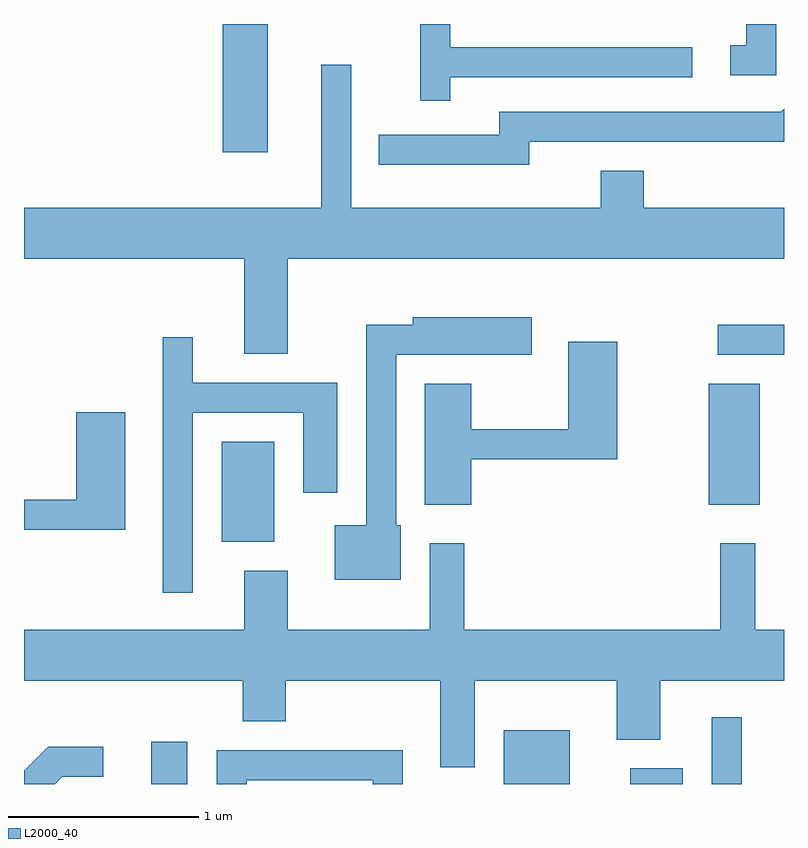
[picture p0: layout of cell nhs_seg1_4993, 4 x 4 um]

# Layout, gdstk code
import gdstk
lib = gdstk.Library(unit=1e-6, precision=1e-09)
def R(c, l, rs):  # rectangles x0, y0, x1, y1
    for r in rs: c.add(gdstk.rectangle(r[:2], r[2:], *l))
def P(c, l, *ps):  # polygons
    for p in ps: c.add(gdstk.Polygon(p, *l))
L2000_40 = (2000, 40)

nhs_seg1_4993 = lib.new_cell('nhs_seg1_4993')
R(nhs_seg1_4993, L2000_40, [(336.281,885.712,336.469,885.934), (338.136,885.712,338.484,885.994), (338.801,885.712,339.079,885.794), (339.231,885.712,339.389,886.063), (336.651,886.986,336.929,887.514), (339.216,887.181,339.484,887.819), (339.263,887.971,339.611,888.129), (336.656,889.036,336.894,889.712)])
P(nhs_seg1_4993, L2000_40, [(339.569,889.712),(339.411,889.712),(339.411,889.599),(339.328,889.599),(339.328,889.441),(339.569,889.441)],
  [(337.854,889.431),(339.128,889.431),(339.128,889.589),(337.854,889.589),(337.854,889.712),(337.696,889.712),(337.696,889.308),(337.854,889.308)],
  [(335.611,888.476),(336.771,888.476),(336.771,887.976),(336.999,887.976),(336.999,888.476),(339.611,888.476),(339.611,888.744),(338.874,888.744),(338.874,888.939),(338.646,888.939),(338.646,888.744),(337.334,888.744),(337.334,889.498),(337.176,889.498),(337.176,888.744),(335.611,888.744)],
  [(338.269,889.091),(339.611,889.091),(339.611,889.266),(339.594,889.249),(338.111,889.249),(338.111,889.129),(337.478,889.129),(337.478,888.971),(338.269,888.971)],
  [(337.594,887.074),(337.569,887.074),(337.569,887.971),(338.284,887.971),(338.284,888.169),(337.656,888.169),(337.656,888.129),(337.411,888.129),(337.411,887.074),(337.246,887.074),(337.246,886.786),(337.594,886.786)],
  [(336.499,887.666),(337.081,887.666),(337.081,887.246),(337.259,887.246),(337.259,887.824),(336.499,887.824),(336.499,888.063),(336.341,888.063),(336.341,886.718),(336.499,886.718)],
  [(337.964,887.421),(338.734,887.421),(338.734,888.039),(338.476,888.039),(338.476,887.579),(337.964,887.579),(337.964,887.819),(337.721,887.819),(337.721,887.181),(337.964,887.181)],
  [(336.144,887.669),(335.886,887.669),(335.886,887.209),(335.611,887.209),(335.611,887.051),(336.144,887.051)],
  [(337.984,886.256),(338.731,886.256),(338.731,885.946),(338.959,885.946),(338.959,886.256),(339.611,886.256),(339.611,886.524),(339.459,886.524),(339.459,886.979),(339.276,886.979),(339.276,886.524),(337.929,886.524),(337.929,886.979),(337.746,886.979),(337.746,886.524),(336.999,886.524),(336.999,886.834),(336.771,886.834),(336.771,886.524),(335.611,886.524),(335.611,886.256),(336.761,886.256),(336.761,886.041),(336.989,886.041),(336.989,886.256),(337.801,886.256),(337.801,885.801),(337.984,885.801)],
  [(335.812,885.751),(336.028,885.751),(336.028,885.909),(335.739,885.909),(335.611,885.781),(335.611,885.712),(335.773,885.712)],
  [(336.784,885.731),(337.446,885.731),(337.446,885.712),(337.604,885.712),(337.604,885.889),(336.626,885.889),(336.626,885.712),(336.784,885.712)])

lib.write_gds('nhs_seg1_4993.gds')
